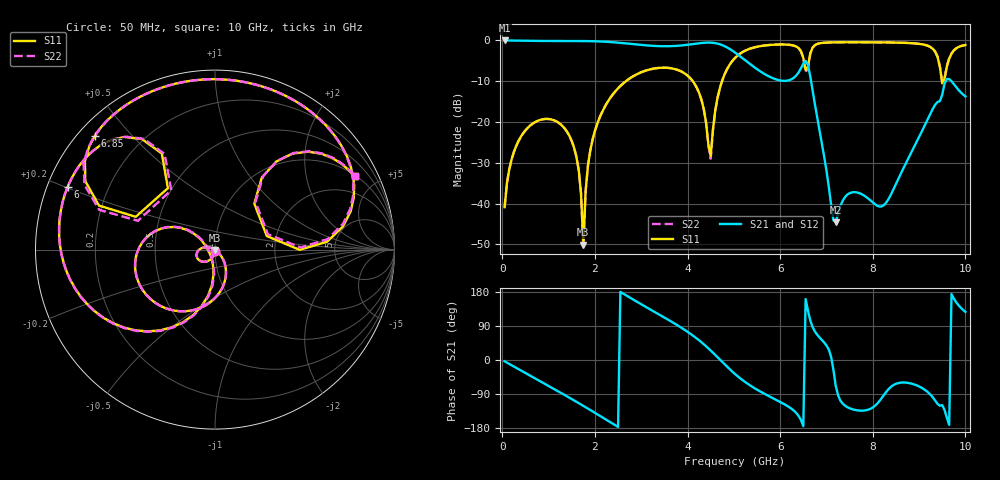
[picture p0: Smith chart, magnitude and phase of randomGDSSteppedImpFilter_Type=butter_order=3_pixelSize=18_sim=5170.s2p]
! freq	dB(S11)	phase(S11)	dB(S12)	phase(S12)
!  dB(S21)	phase(S21)	dB(S22)	phase(S22)
!S-par simulation data
#  GHz  S  DB  R 50
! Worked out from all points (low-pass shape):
!   200 points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, 50 MHz to 10 GHz, reference 50 ohm
!   highest |S21| = -0.01 dB at 50 MHz (marker M1); lowest = -44.6 dB at 7.2 GHz (marker M2)
!   |S21| within 3 dB of the highest: start of sweep to 5.03 GHz
!   lowest |S11| = -50.1 dB at 1.75 GHz (marker M3), VSWR 1.01, Z = 49.8 - j0.224 ohm
!   |S11| at or under -10 dB: start of sweep to 2.669 GHz; 4.113 GHz to 4.744 GHz (631.1 MHz wide, 14.3 % of centre); 9.493627 GHz to 9.523848 GHz (30.22 MHz wide, 0.318 % of centre)
!   |S22| runs from -50.4 to -0.4 dB; largest |S21 - S12| = 0
!   S11 on the Smith chart (normalised r, x): 50 MHz: 1.00, -0.02; 6 GHz: 0.06, +0.20; 6.85 GHz: 0.05, +0.40; 10 GHz: 1.06, +3.78
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0.05  -40.87 -91.5  -0.01 -3.5  -0.01 -3.5  -40.87 -91.5
0.4  -23.63 -117.5  -0.06 -27.5  -0.06 -27.5  -23.63 -117.5
1.15  -19.74 -168.8  -0.15 -78.7  -0.15 -78.7  -19.74 -168.8
1.6  -28.50 161.8  -0.14 -110.2  -0.14 -110.2  -28.51 161.6
1.75  -50.06 -134.4  -0.15 -121.0  -0.15 -121.0  -50.43 -135.7
1.85  -30.68 -43.1  -0.17 -128.3  -0.17 -128.3  -30.68 -42.8
2.1  -18.97 -58.7  -0.25 -146.8  -0.25 -146.8  -18.96 -58.6
3.4  -6.71 -150.8  -1.40 119.1  -1.40 119.1  -6.71 -150.8
4.2  -11.59 151.4  -0.77 56.7  -0.77 56.7  -11.59 151.0
4.5  -28.32 -134.0  -0.54 24.9  -0.54 24.9  -28.98 -132.3
4.7  -11.61 -98.7  -0.95 0.8  -0.95 0.8  -11.63 -97.9
5.05  -4.02 -134.4  -3.17 -39.6  -3.17 -39.6  -4.02 -134.0
6  -0.99 156.9  -9.81 -110.6  -9.81 -110.6  -0.99 157.0
6.55  -7.31 127.5  -5.01 160.9  -5.01 160.9  -7.73 126.4
6.7  -1.76 152.2  -12.24 87.1  -12.24 87.1  -1.81 153.6
6.85  -0.70 136.5  -22.05 59.5  -22.05 59.5  -0.72 137.4
7.2  -0.46 116.4  -44.56 -68.2  -44.56 -68.2  -0.47 117.1
8.35  -0.50 68.2  -38.66 -75.7  -38.66 -75.7  -0.50 68.9
9.2  -1.37 24.7  -18.99 -86.0  -18.99 -86.0  -1.36 25.7
9.45  -6.52 -0.2  -14.86 -120.6  -14.86 -120.6  -6.42 1.4
9.7  -3.24 51.0  -10.00 174.0  -10.00 174.0  -3.17 50.9
10  -1.13 27.6  -13.72 127.1  -13.72 127.1  -1.11 27.9
